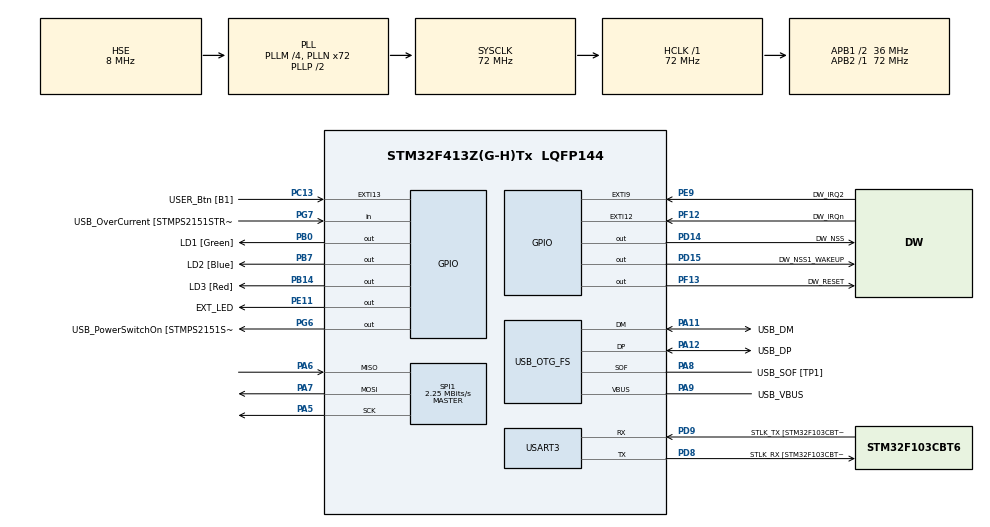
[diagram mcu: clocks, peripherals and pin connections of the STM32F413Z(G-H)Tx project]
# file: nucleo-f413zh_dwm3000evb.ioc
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Dma.Request0=USART3_RX
Dma.Request1=USART3_TX
Dma.USART3_RX.0.Direction=DMA_PERIPH_TO_MEMORY
Dma.USART3_RX.0.FIFOMode=DMA_FIFOMODE_DISABLE
Dma.USART3_RX.0.Instance=DMA1_Stream1
Dma.USART3_RX.0.MemDataAlignment=DMA_MDATAALIGN_BYTE
Dma.USART3_RX.0.MemInc=DMA_MINC_ENABLE
Dma.USART3_RX.0.Mode=DMA_NORMAL
Dma.USART3_RX.0.PeriphDataAlignment=DMA_PDATAALIGN_BYTE
Dma.USART3_RX.0.PeriphInc=DMA_PINC_DISABLE
Dma.USART3_RX.0.Priority=DMA_PRIORITY_LOW
Dma.USART3_TX.1.Direction=DMA_MEMORY_TO_PERIPH
Dma.USART3_TX.1.FIFOMode=DMA_FIFOMODE_DISABLE
Dma.USART3_TX.1.Instance=DMA1_Stream3
Dma.USART3_TX.1.MemDataAlignment=DMA_MDATAALIGN_BYTE
Dma.USART3_TX.1.MemInc=DMA_MINC_ENABLE
Dma.USART3_TX.1.Mode=DMA_NORMAL
Dma.USART3_TX.1.PeriphDataAlignment=DMA_PDATAALIGN_BYTE
Dma.USART3_TX.1.PeriphInc=DMA_PINC_DISABLE
Dma.USART3_TX.1.Priority=DMA_PRIORITY_LOW
Mcu.Family=STM32F4
Mcu.Name=STM32F413Z(G-H)Tx
Mcu.Package=LQFP144
NVIC.DMA1_Stream1_IRQn=true\:0\:0\:false\:true\:true\:3\:false\:true\:true
NVIC.DMA1_Stream3_IRQn=true\:0\:0\:false\:true\:true\:4\:false\:true\:true
NVIC.EXTI15_10_IRQn=true\:0\:0\:false\:true\:true\:2\:true\:true\:true
NVIC.PriorityGroup=NVIC_PRIORITYGROUP_4
NVIC.TIM2_IRQn=true\:0\:0\:false\:true\:true\:1\:true\:true\:true
PA10.GPIO_Label=USB_ID
PA10.Signal=USB_OTG_FS_ID
PA11.GPIO_Label=USB_DM
PA11.Mode=Device_Only
PA11.Signal=USB_OTG_FS_DM
PA12.GPIO_Label=USB_DP
PA12.Mode=Device_Only
PA12.Signal=USB_OTG_FS_DP
PA13.GPIO_Label=TMS
PA13.Mode=Serial_Wire
PA13.Signal=SYS_JTMS-SWDIO
PA14.GPIO_Label=TCK
PA14.Mode=Serial_Wire
PA14.Signal=SYS_JTCK-SWCLK
PA5.Mode=Full_Duplex_Master
PA5.Signal=SPI1_SCK
PA6.Mode=Full_Duplex_Master
PA6.Signal=SPI1_MISO
PA7.Mode=Full_Duplex_Master
PA7.Signal=SPI1_MOSI
PA8.GPIO_Label=USB_SOF [TP1]
PA8.Mode=Activate_SOF_FS
PA8.Signal=USB_OTG_FS_SOF
PA9.GPIO_Label=USB_VBUS
PA9.Mode=Activate_VBUS
PA9.Signal=USB_OTG_FS_VBUS
PB0.GPIO_Label=LD1 [Green]
PB0.GPIO_PuPd=GPIO_PULLDOWN
PB0.GPIO_Speed=GPIO_SPEED_FREQ_LOW
PB0.PinState=GPIO_PIN_RESET
PB0.Signal=GPIO_Output
PB14.GPIO_Label=LD3 [Red]
PB14.GPIO_PuPd=GPIO_PULLDOWN
PB14.GPIO_Speed=GPIO_SPEED_FREQ_LOW
PB14.PinState=GPIO_PIN_RESET
PB14.Signal=GPIO_Output
PB3.GPIO_Label=SWO
PB3.Signal=SYS_JTDO-SWO
PB7.GPIO_Label=LD2 [Blue]
PB7.GPIO_PuPd=GPIO_PULLDOWN
PB7.GPIO_Speed=GPIO_SPEED_FREQ_LOW
PB7.PinState=GPIO_PIN_RESET
PB7.Signal=GPIO_Output
PC13.GPIO_Label=USER_Btn [B1]
PC13.GPIO_ModeDefaultEXTI=GPIO_MODE_IT_RISING
PC13.GPIO_PuPd=GPIO_NOPULL
PC13.Signal=GPXTI13
PC14-OSC32_IN.Mode=LSE-External-Oscillator
PC14-OSC32_IN.Signal=RCC_OSC32_IN
PC15-OSC32_OUT.Mode=LSE-External-Oscillator
PC15-OSC32_OUT.Signal=RCC_OSC32_OUT
PD14.GPIO_Label=DW_NSS
PD14.GPIO_ModeDefaultOutputPP=GPIO_MODE_OUTPUT_PP
PD14.GPIO_PuPd=GPIO_PULLUP
PD14.GPIO_Speed=GPIO_SPEED_FREQ_MEDIUM
PD14.PinState=GPIO_PIN_SET
PD14.Signal=GPIO_Output
PD15.GPIO_Label=DW_NSS1_WAKEUP
PD15.GPIO_PuPd=GPIO_NOPULL
PD15.GPIO_Speed=GPIO_SPEED_FREQ_MEDIUM
PD15.PinState=GPIO_PIN_RESET
PD15.Signal=GPIO_Output
PD8.GPIO_Label=STLK_RX [STM32F103CBT6_PA3]
PD8.Mode=Asynchronous
PD8.Signal=USART3_TX
PD9.GPIO_Label=STLK_TX [STM32F103CBT6_PA2]
PD9.Mode=Asynchronous
PD9.Signal=USART3_RX
PE11.GPIO_Label=EXT_LED
PE11.GPIO_PuPd=GPIO_PULLDOWN
PE11.GPIO_Speed=GPIO_SPEED_FREQ_LOW
PE11.Signal=GPIO_Output
PE9.GPIO_Label=DW_IRQ2
PE9.GPIO_PuPd=GPIO_PULLDOWN
PE9.Signal=GPXTI9
PF12.GPIO_Label=DW_IRQn
PF12.GPIO_PuPd=GPIO_PULLDOWN
PF12.Signal=GPXTI12
PF13.GPIO_Label=DW_RESET
PF13.GPIO_ModeDefaultOutputPP=GPIO_MODE_OUTPUT_OD
PF13.GPIO_PuPd=GPIO_NOPULL
PF13.GPIO_Speed=GPIO_SPEED_FREQ_MEDIUM
PF13.PinState=GPIO_PIN_SET
PF13.Signal=GPIO_Output
PG6.GPIO_Label=USB_PowerSwitchOn [STMPS2151STR_EN]
PG6.Signal=GPIO_Output
PG7.GPIO_Label=USB_OverCurrent [STMPS2151STR_FAULT]
PG7.Signal=GPIO_Input
PH0\ -\ OSC_IN.GPIO_Label=MCO
PH0\ -\ OSC_IN.Mode=HSE-External-Clock-Source
PH0\ -\ OSC_IN.Signal=RCC_OSC_IN
PH1\ -\ OSC_OUT.Mode=HSE-External-Clock-Source
PH1\ -\ OSC_OUT.Signal=RCC_OSC_OUT
ProjectManager.HeapSize=0x200
ProjectManager.StackSize=0x400
ProjectManager.TargetToolchain=STM32CubeIDE
RCC.48MHZClocksFreq_Value=24000000
RCC.AHBFreq_Value=72000000
RCC.APB1CLKDivider=RCC_HCLK_DIV2
RCC.APB1Freq_Value=36000000
RCC.APB1TimFreq_Value=72000000
RCC.APB2Freq_Value=72000000
RCC.APB2TimFreq_Value=72000000
RCC.CortexFreq_Value=72000000
RCC.HCLKFreq_Value=72000000
RCC.HSE_VALUE=8000000
RCC.HSI_VALUE=16000000
RCC.PLLM=4
RCC.PLLMUL=RCC_PLL_MUL9
RCC.PLLN=72
RCC.PLLQ=3
RCC.PRESCALERUSB=RCC_USBCLKSOURCE_PLL_DIV1_5
RCC.SYSCLKFreq_VALUE=72000000
RCC.SYSCLKSource=RCC_SYSCLKSOURCE_PLLCLK
RCC.SYSCLKSourceVirtual=RCC_SYSCLKSOURCE_PLLCLK
RCC.USBFreq_Value=48000000
RCC.VCOOutputFreq_Value=144000000
SPI1.BaudRatePrescaler=SPI_BAUDRATEPRESCALER_32
SPI1.CalculateBaudRate=2.25 MBits/s
SPI1.Direction=SPI_DIRECTION_2LINES
SPI1.Mode=SPI_MODE_MASTER
SPI1.VirtualType=VM_MASTER
TIM2.AutoReloadPreload=TIM_AUTORELOAD_PRELOAD_DISABLE
TIM2.ClockDivision=TIM_CLOCKDIVISION_DIV1
TIM2.Period=1000
TIM2.Prescaler=71
TIM2.TIM_MasterOutputTrigger=TIM_TRGO_RESET
TIM2.TIM_MasterSlaveMode=TIM_MASTERSLAVEMODE_DISABLE
USART3.VirtualMode=VM_ASYNC
USB_OTG_FS.VirtualMode=Device_Only
VP_TIM2_VS_ClockSourceINT.Mode=Internal
board=NUCLEO-F413ZH

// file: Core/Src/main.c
/* USER CODE BEGIN Header */
/**
  ******************************************************************************
  * @file           : main.c
  * @brief          : Main program body
  ******************************************************************************
  * @attention
  *
  * Copyright (c) 2023 STMicroelectronics.
  * All rights reserved.
  *
  * This software is licensed under terms that can be found in the LICENSE file
  * in the root directory of this software component.
  * If no LICENSE file comes with this software, it is provided AS-IS.
  *
  ******************************************************************************
  */
/* USER CODE END Header */
#include "main.h"

/* USER CODE BEGIN Includes */
#include <port.h>
#include <deca_device_api.h>
#include <deca_version.h>
#include <deca_interface.h>
#include <deca_probe_interface.h>
/* USER CODE END Includes */

SPI_HandleTypeDef hspi1;

TIM_HandleTypeDef htim2;

UART_HandleTypeDef huart3;
DMA_HandleTypeDef hdma_usart3_rx;
DMA_HandleTypeDef hdma_usart3_tx;

PCD_HandleTypeDef hpcd_USB_OTG_FS;

/* USER CODE BEGIN PV */
UART_HandleTypeDef *phCurrentUART = &huart3;
TIM_HandleTypeDef *phCurrentTimer = &htim2;
SPI_HandleTypeDef *hcurrent_active_spi = &hspi1;
uint16_t pin_io_active_spi = DW_NSS_Pin;
GPIO_PinState SPI_CS_state = GPIO_PIN_RESET;
host_using_spi_e host_spi = SPI_1;
/* USER CODE END PV */

void SystemClock_Config(void);
static void MX_GPIO_Init(void);
static void MX_DMA_Init(void);
static void MX_USART3_UART_Init(void);
static void MX_USB_OTG_FS_PCD_Init(void);
static void MX_SPI1_Init(void);
static void MX_TIM2_Init(void);
static void MX_NVIC_Init(void);

/* USER CODE BEGIN 0 */
void test(void) {
  port_DisableEXT_IRQ();
  setup_DWICRSTnIRQ(0);
  port_set_dw_ic_spi_fastrate();
  reset_DWIC();
  Sleep(2);

  dwt_probe((struct dwt_probe_s *)&dw3000_probe_interf);
  uint32_t dev_id = dwt_readdevid();
  dwt_check_dev_id();

  char message[128];
  snprintf(message, sizeof (message), "device id: 0x%lx", dev_id);
  userLog(message);

  port_EnableEXT_IRQ();
  Sleep(1000);
}
/* USER CODE END 0 */

int main(void)
{

  /* MCU Configuration--------------------------------------------------------*/

  /* Reset of all peripherals, Initializes the Flash interface and the Systick. */
  HAL_Init();

  /* Configure the system clock */
  SystemClock_Config();

  /* Initialize all configured peripherals */
  MX_GPIO_Init();
  MX_DMA_Init();
  MX_USART3_UART_Init();
  MX_USB_OTG_FS_PCD_Init();
  MX_SPI1_Init();
  MX_TIM2_Init();

  /* Initialize interrupts */
  MX_NVIC_Init();
  /* USER CODE BEGIN 2 */
  //test();

#ifdef ANCHOR
  char message[0x10];
  double distance = 0;

  userConfigureDevice(USER_MODE_ANCHOR);

  while (1)
  {
    userPoll(&distance);
    snprintf(
      message,
      0x10 - 1, "%.3f,%.3f",
      elapsedTimeMilliseconds * 0.001, distance);
    userLog(message);
  }
#else
#ifdef TAG
  userConfigureDevice(USER_MODE_TAG);

  while (1)
  {
    userRespond();
  }
#endif /* TAG */
#endif /* else */
  /* USER CODE END 2 */

  /* Infinite loop */
  while (1)
  {

  }
}

void SystemClock_Config(void)
{
  RCC_OscInitTypeDef RCC_OscInitStruct = {0};
  RCC_ClkInitTypeDef RCC_ClkInitStruct = {0};

  /** Configure the main internal regulator output voltage
  */
  __HAL_RCC_PWR_CLK_ENABLE();
  __HAL_PWR_VOLTAGESCALING_CONFIG(PWR_REGULATOR_VOLTAGE_SCALE1);

  /** Initializes the RCC Oscillators according to the specified parameters
  * in the RCC_OscInitTypeDef structure.
  */
  RCC_OscInitStruct.OscillatorType = RCC_OSCILLATORTYPE_HSE;
  RCC_OscInitStruct.HSEState = RCC_HSE_BYPASS;
  RCC_OscInitStruct.PLL.PLLState = RCC_PLL_ON;
  RCC_OscInitStruct.PLL.PLLSource = RCC_PLLSOURCE_HSE;
  RCC_OscInitStruct.PLL.PLLM = 4;
  RCC_OscInitStruct.PLL.PLLN = 72;
  RCC_OscInitStruct.PLL.PLLP = RCC_PLLP_DIV2;
  RCC_OscInitStruct.PLL.PLLQ = 3;
  RCC_OscInitStruct.PLL.PLLR = 2;
  if (HAL_RCC_OscConfig(&RCC_OscInitStruct) != HAL_OK)
  {
    Error_Handler();
  }

  /** Initializes the CPU, AHB and APB buses clocks
  */
  RCC_ClkInitStruct.ClockType = RCC_CLOCKTYPE_HCLK|RCC_CLOCKTYPE_SYSCLK
                              |RCC_CLOCKTYPE_PCLK1|RCC_CLOCKTYPE_PCLK2;
  RCC_ClkInitStruct.SYSCLKSource = RCC_SYSCLKSOURCE_PLLCLK;
  RCC_ClkInitStruct.AHBCLKDivider = RCC_SYSCLK_DIV1;
  RCC_ClkInitStruct.APB1CLKDivider = RCC_HCLK_DIV2;
  RCC_ClkInitStruct.APB2CLKDivider = RCC_HCLK_DIV1;

  if (HAL_RCC_ClockConfig(&RCC_ClkInitStruct, FLASH_LATENCY_2) != HAL_OK)
  {
    Error_Handler();
  }
}

/**
  * @brief NVIC Configuration.
  * @retval None
  */
static void MX_NVIC_Init(void)
{
  /* TIM2_IRQn interrupt configuration */
  HAL_NVIC_SetPriority(TIM2_IRQn, 0, 0);
  HAL_NVIC_EnableIRQ(TIM2_IRQn);
  /* EXTI15_10_IRQn interrupt configuration */
  HAL_NVIC_SetPriority(EXTI15_10_IRQn, 0, 0);
  HAL_NVIC_EnableIRQ(EXTI15_10_IRQn);
  /* DMA1_Stream1_IRQn interrupt configuration */
  HAL_NVIC_SetPriority(DMA1_Stream1_IRQn, 0, 0);
  HAL_NVIC_EnableIRQ(DMA1_Stream1_IRQn);
  /* DMA1_Stream3_IRQn interrupt configuration */
  HAL_NVIC_SetPriority(DMA1_Stream3_IRQn, 0, 0);
  HAL_NVIC_EnableIRQ(DMA1_Stream3_IRQn);
}

static void MX_SPI1_Init(void)
{

  /* SPI1 parameter configuration*/
  hspi1.Instance = SPI1;
  hspi1.Init.Mode = SPI_MODE_MASTER;
  hspi1.Init.Direction = SPI_DIRECTION_2LINES;
  hspi1.Init.DataSize = SPI_DATASIZE_8BIT;
  hspi1.Init.CLKPolarity = SPI_POLARITY_LOW;
  hspi1.Init.CLKPhase = SPI_PHASE_1EDGE;
  hspi1.Init.NSS = SPI_NSS_SOFT;
  hspi1.Init.BaudRatePrescaler = SPI_BAUDRATEPRESCALER_32;
  hspi1.Init.FirstBit = SPI_FIRSTBIT_MSB;
  hspi1.Init.TIMode = SPI_TIMODE_DISABLE;
  hspi1.Init.CRCCalculation = SPI_CRCCALCULATION_DISABLE;
  hspi1.Init.CRCPolynomial = 10;
  if (HAL_SPI_Init(&hspi1) != HAL_OK)
  {
    Error_Handler();
  }

}

static void MX_TIM2_Init(void)
{

  TIM_ClockConfigTypeDef sClockSourceConfig = {0};
  TIM_MasterConfigTypeDef sMasterConfig = {0};

  htim2.Instance = TIM2;
  htim2.Init.Prescaler = 71;
  htim2.Init.CounterMode = TIM_COUNTERMODE_UP;
  htim2.Init.Period = 1000;
  htim2.Init.ClockDivision = TIM_CLOCKDIVISION_DIV1;
  htim2.Init.AutoReloadPreload = TIM_AUTORELOAD_PRELOAD_DISABLE;
  if (HAL_TIM_Base_Init(&htim2) != HAL_OK)
  {
    Error_Handler();
  }
  sClockSourceConfig.ClockSource = TIM_CLOCKSOURCE_INTERNAL;
  if (HAL_TIM_ConfigClockSource(&htim2, &sClockSourceConfig) != HAL_OK)
  {
    Error_Handler();
  }
  sMasterConfig.MasterOutputTrigger = TIM_TRGO_RESET;
  sMasterConfig.MasterSlaveMode = TIM_MASTERSLAVEMODE_DISABLE;
  if (HAL_TIMEx_MasterConfigSynchronization(&htim2, &sMasterConfig) != HAL_OK)
  {
    Error_Handler();
  }

}

static void MX_USART3_UART_Init(void)
{

  huart3.Instance = USART3;
  huart3.Init.BaudRate = 115200;
  huart3.Init.WordLength = UART_WORDLENGTH_8B;
  huart3.Init.StopBits = UART_STOPBITS_1;
  huart3.Init.Parity = UART_PARITY_NONE;
  huart3.Init.Mode = UART_MODE_TX_RX;
  huart3.Init.HwFlowCtl = UART_HWCONTROL_NONE;
  huart3.Init.OverSampling = UART_OVERSAMPLING_16;
  if (HAL_UART_Init(&huart3) != HAL_OK)
  {
    Error_Handler();
  }
  /* USER CODE BEGIN USART3_Init 2 */
  userDisableLogging();
  /* USER CODE END USART3_Init 2 */

}

static void MX_USB_OTG_FS_PCD_Init(void)
{

  hpcd_USB_OTG_FS.Instance = USB_OTG_FS;
  hpcd_USB_OTG_FS.Init.dev_endpoints = 6;
  hpcd_USB_OTG_FS.Init.speed = PCD_SPEED_FULL;
  hpcd_USB_OTG_FS.Init.dma_enable = DISABLE;
  hpcd_USB_OTG_FS.Init.phy_itface = PCD_PHY_EMBEDDED;
  hpcd_USB_OTG_FS.Init.Sof_enable = ENABLE;
  hpcd_USB_OTG_FS.Init.low_power_enable = DISABLE;
  hpcd_USB_OTG_FS.Init.lpm_enable = DISABLE;
  hpcd_USB_OTG_FS.Init.battery_charging_enable = ENABLE;
  hpcd_USB_OTG_FS.Init.vbus_sensing_enable = ENABLE;
  hpcd_USB_OTG_FS.Init.use_dedicated_ep1 = DISABLE;
  if (HAL_PCD_Init(&hpcd_USB_OTG_FS) != HAL_OK)
  {
    Error_Handler();
  }

}

static void MX_DMA_Init(void)
{

  /* DMA controller clock enable */
  __HAL_RCC_DMA1_CLK_ENABLE();

}

static void MX_GPIO_Init(void)
{
  GPIO_InitTypeDef GPIO_InitStruct = {0};

  /* GPIO Ports Clock Enable */
  __HAL_RCC_GPIOC_CLK_ENABLE();
  __HAL_RCC_GPIOH_CLK_ENABLE();
  __HAL_RCC_GPIOA_CLK_ENABLE();
  __HAL_RCC_GPIOB_CLK_ENABLE();
  __HAL_RCC_GPIOF_CLK_ENABLE();
  __HAL_RCC_GPIOE_CLK_ENABLE();
  __HAL_RCC_GPIOD_CLK_ENABLE();
  __HAL_RCC_GPIOG_CLK_ENABLE();

  /*Configure GPIO pin Output Level */
  HAL_GPIO_WritePin(GPIOB, LD1_Pin|LD3_Pin|LD2_Pin, GPIO_PIN_RESET);

  /*Configure GPIO pin Output Level */
  HAL_GPIO_WritePin(DW_RESET_GPIO_Port, DW_RESET_Pin, GPIO_PIN_SET);

  /*Configure GPIO pin Output Level */
  HAL_GPIO_WritePin(EXT_LED_GPIO_Port, EXT_LED_Pin, GPIO_PIN_RESET);

  /*Configure GPIO pin Output Level */
  HAL_GPIO_WritePin(DW_NSS_GPIO_Port, DW_NSS_Pin, GPIO_PIN_SET);

  /*Configure GPIO pin Output Level */
  HAL_GPIO_WritePin(DW_NSS1_WAKEUP_GPIO_Port, DW_NSS1_WAKEUP_Pin, GPIO_PIN_RESET);

  /*Configure GPIO pin Output Level */
  HAL_GPIO_WritePin(USB_PowerSwitchOn_GPIO_Port, USB_PowerSwitchOn_Pin, GPIO_PIN_RESET);

  /*Configure GPIO pin : USER_Btn_Pin */
  GPIO_InitStruct.Pin = USER_Btn_Pin;
  GPIO_InitStruct.Mode = GPIO_MODE_IT_RISING;
  GPIO_InitStruct.Pull = GPIO_NOPULL;
  HAL_GPIO_Init(USER_Btn_GPIO_Port, &GPIO_InitStruct);

  /*Configure GPIO pins : LD1_Pin LD3_Pin LD2_Pin */
  GPIO_InitStruct.Pin = LD1_Pin|LD3_Pin|LD2_Pin;
  GPIO_InitStruct.Mode = GPIO_MODE_OUTPUT_PP;
  GPIO_InitStruct.Pull = GPIO_PULLDOWN;
  GPIO_InitStruct.Speed = GPIO_SPEED_FREQ_LOW;
  HAL_GPIO_Init(GPIOB, &GPIO_InitStruct);

  /*Configure GPIO pin : DW_IRQn_Pin */
  GPIO_InitStruct.Pin = DW_IRQn_Pin;
  GPIO_InitStruct.Mode = GPIO_MODE_IT_RISING;
  GPIO_InitStruct.Pull = GPIO_PULLDOWN;
  HAL_GPIO_Init(DW_IRQn_GPIO_Port, &GPIO_InitStruct);

  /*Configure GPIO pin : DW_RESET_Pin */
  GPIO_InitStruct.Pin = DW_RESET_Pin;
  GPIO_InitStruct.Mode = GPIO_MODE_OUTPUT_OD;
  GPIO_InitStruct.Pull = GPIO_NOPULL;
  GPIO_InitStruct.Speed = GPIO_SPEED_FREQ_MEDIUM;
  HAL_GPIO_Init(DW_RESET_GPIO_Port, &GPIO_InitStruct);

  /*Configure GPIO pin : DW_IRQ2_Pin */
  GPIO_InitStruct.Pin = DW_IRQ2_Pin;
  GPIO_InitStruct.Mode = GPIO_MODE_IT_RISING;
  GPIO_InitStruct.Pull = GPIO_PULLDOWN;
  HAL_GPIO_Init(DW_IRQ2_GPIO_Port, &GPIO_InitStruct);

  /*Configure GPIO pin : EXT_LED_Pin */
  GPIO_InitStruct.Pin = EXT_LED_Pin;
  GPIO_InitStruct.Mode = GPIO_MODE_OUTPUT_PP;
  GPIO_InitStruct.Pull = GPIO_PULLDOWN;
  GPIO_InitStruct.Speed = GPIO_SPEED_FREQ_LOW;
  HAL_GPIO_Init(EXT_LED_GPIO_Port, &GPIO_InitStruct);

  /*Configure GPIO pin : DW_NSS_Pin */
  GPIO_InitStruct.Pin = DW_NSS_Pin;
  GPIO_InitStruct.Mode = GPIO_MODE_OUTPUT_PP;
  GPIO_InitStruct.Pull = GPIO_PULLUP;
  GPIO_InitStruct.Speed = GPIO_SPEED_FREQ_MEDIUM;
  HAL_GPIO_Init(DW_NSS_GPIO_Port, &GPIO_InitStruct);

  /*Configure GPIO pin : DW_NSS1_WAKEUP_Pin */
  GPIO_InitStruct.Pin = DW_NSS1_WAKEUP_Pin;
  GPIO_InitStruct.Mode = GPIO_MODE_OUTPUT_PP;
  GPIO_InitStruct.Pull = GPIO_NOPULL;
  GPIO_InitStruct.Speed = GPIO_SPEED_FREQ_MEDIUM;
  HAL_GPIO_Init(DW_NSS1_WAKEUP_GPIO_Port, &GPIO_InitStruct);

  /*Configure GPIO pin : USB_PowerSwitchOn_Pin */
  GPIO_InitStruct.Pin = USB_PowerSwitchOn_Pin;
  GPIO_InitStruct.Mode = GPIO_MODE_OUTPUT_PP;
  GPIO_InitStruct.Pull = GPIO_NOPULL;
  GPIO_InitStruct.Speed = GPIO_SPEED_FREQ_LOW;
  HAL_GPIO_Init(USB_PowerSwitchOn_GPIO_Port, &GPIO_InitStruct);

  /*Configure GPIO pin : USB_OverCurrent_Pin */
  GPIO_InitStruct.Pin = USB_OverCurrent_Pin;
  GPIO_InitStruct.Mode = GPIO_MODE_INPUT;
  GPIO_InitStruct.Pull = GPIO_NOPULL;
  HAL_GPIO_Init(USB_OverCurrent_GPIO_Port, &GPIO_InitStruct);

}

void Error_Handler(void)
{
  __disable_irq();
  while (1)
  {
  }
}
